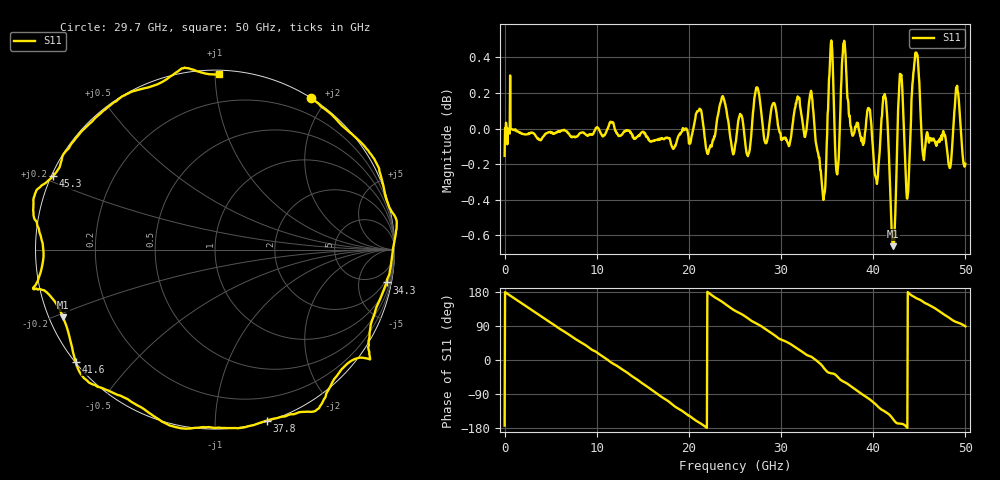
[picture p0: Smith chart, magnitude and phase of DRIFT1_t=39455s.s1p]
!Created with skrf (http://scikit-rf.org).
# Hz S RI R 50.0
!freq ReS11 ImS11
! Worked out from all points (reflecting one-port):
!   1001 points, 300 kHz to 50 GHz, reference 50 ohm
!   lowest |S11| = -0.7 dB at 42.15 GHz (marker M1), VSWR 26.26, Z = 1.99 - j10.6 ohm
!   phase of S11 starts at -173 deg and turns -818 deg over the sweep
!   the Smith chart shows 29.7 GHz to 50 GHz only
!   S11 on the Smith chart (normalised r, x): 29.7 GHz: -0.00, +1.82; 34.3 GHz: 1, -10; 37.8 GHz: 0.01, -1.35; 41.6 GHz: 0.00, -0.35; 45.3 GHz: 0.01, +0.22; 50 GHz: 0.02, +1.02
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300000  -0.9755 -0.1171
1.450291e9  -0.9125 0.4043
3.25028e9  -0.5925 0.801
6.250262e9  0.2008 0.9784
9.500243e9  0.8918 0.4441
1.250022e10  0.9323 -0.3484
1.580021e10  0.2401 -0.9622
1.74002e10  -0.2209 -0.9689
1.875019e10  -0.5968 -0.7941
2.150017e10  -0.9925 -0.1563
2.350016e10  -0.9244 0.4262
2.500015e10  -0.636 0.7574
2.740014e10  -0.0978 1.022
2.970012e10  0.5361 0.8452
3.125011e10  0.7855 0.6233
3.31501e10  1.007 0.1759
3.430009e10  0.9561 -0.1827
3.520009e10  0.8602 -0.5713
3.750008e10  0.3751 -0.9308
3.780007e10  0.2872 -0.9531
3.955006e10  -0.2203 -0.9888
4.160005e10  -0.7764 -0.6259
4.215005e10  -0.8466 -0.3767
4.290004e10  -1.013 -0.2189
4.375004e10  -0.9581 0.0119
4.530003e10  -0.9007 0.4099
4.770001e10  -0.4941 0.8653
5e10  0.0215 0.9772
